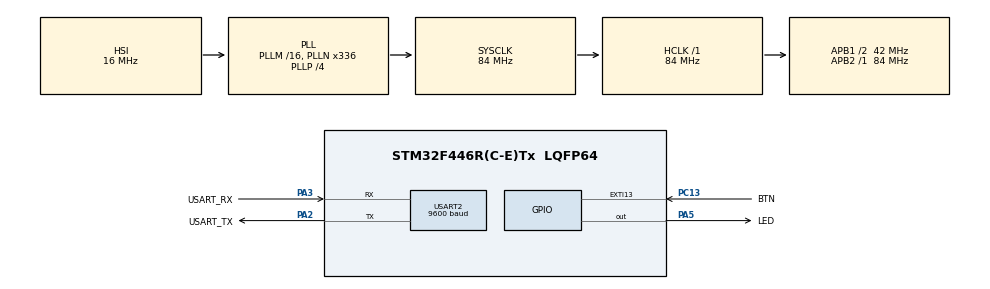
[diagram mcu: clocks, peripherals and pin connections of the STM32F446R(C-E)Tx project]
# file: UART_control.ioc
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Mcu.Family=STM32F4
Mcu.Name=STM32F446R(C-E)Tx
Mcu.Package=LQFP64
NVIC.EXTI15_10_IRQn=true\:0\:0\:false\:false\:true\:true\:true\:true
NVIC.PriorityGroup=NVIC_PRIORITYGROUP_0
NVIC.USART2_IRQn=true\:0\:0\:false\:false\:true\:true\:true\:true
PA13.GPIO_Label=TMS
PA13.Mode=Serial_Wire
PA13.Signal=SYS_JTMS-SWDIO
PA14.GPIO_Label=TCK
PA14.Mode=Serial_Wire
PA14.Signal=SYS_JTCK-SWCLK
PA2.GPIO_Label=USART_TX
PA2.Mode=Asynchronous
PA2.Signal=USART2_TX
PA3.GPIO_Label=USART_RX
PA3.Mode=Asynchronous
PA3.Signal=USART2_RX
PA5.GPIO_Label=LED
PA5.Signal=GPIO_Output
PB3.GPIO_Label=SWO
PB3.Signal=SYS_JTDO-SWO
PC13.GPIO_Label=BTN
PC13.GPIO_ModeDefaultEXTI=GPIO_MODE_IT_FALLING
PC13.Signal=GPXTI13
PC14-OSC32_IN.Mode=LSE-External-Oscillator
PC14-OSC32_IN.Signal=RCC_OSC32_IN
PC15-OSC32_OUT.Mode=LSE-External-Oscillator
PC15-OSC32_OUT.Signal=RCC_OSC32_OUT
PH0-OSC_IN.Mode=HSE-External-Oscillator
PH0-OSC_IN.Signal=RCC_OSC_IN
PH1-OSC_OUT.Mode=HSE-External-Oscillator
PH1-OSC_OUT.Signal=RCC_OSC_OUT
ProjectManager.HeapSize=0x200
ProjectManager.StackSize=0x400
ProjectManager.TargetToolchain=STM32CubeIDE
RCC.48MHZClocksFreq_Value=84000000
RCC.AHBFreq_Value=84000000
RCC.APB1CLKDivider=RCC_HCLK_DIV2
RCC.APB1Freq_Value=42000000
RCC.APB1TimFreq_Value=84000000
RCC.APB2Freq_Value=84000000
RCC.APB2TimFreq_Value=84000000
RCC.CortexFreq_Value=84000000
RCC.FLatency-AdvancedSettings=FLASH_LATENCY_2
RCC.HCLKFreq_Value=84000000
RCC.HSE_VALUE=8000000
RCC.HSI_VALUE=16000000
RCC.PLLN=336
RCC.PLLP=RCC_PLLP_DIV4
RCC.SYSCLKFreq_VALUE=84000000
RCC.SYSCLKSource=RCC_SYSCLKSOURCE_PLLCLK
RCC.USBFreq_Value=168000000
RCC.VCOOutputFreq_Value=336000000
USART2.BaudRate=9600
USART2.VirtualMode=VM_ASYNC
board=NUCLEO-F446RE

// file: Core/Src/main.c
/* USER CODE BEGIN Header */
/**
  ******************************************************************************
  * @file           : main.c
  * @brief          : Main program body
  ******************************************************************************
  * @attention
  *
  * Copyright (c) 2023 STMicroelectronics.
  * All rights reserved.
  *
  * This software is licensed under terms that can be found in the LICENSE file
  * in the root directory of this software component.
  * If no LICENSE file comes with this software, it is provided AS-IS.
  *
  ******************************************************************************
  */
/* USER CODE END Header */
#include "main.h"
#include <stdio.h>

UART_HandleTypeDef huart2;

void SystemClock_Config(void);
static void MX_GPIO_Init(void);
static void MX_USART2_UART_Init(void);
/* USER CODE BEGIN PFP */
int __io_putchar(int ch)
{
     (void) HAL_UART_Transmit(&huart2, (uint8_t*) &ch, 1, 100);
     return ch;
}
/* USER CODE END PFP */

/* USER CODE BEGIN 0 */

//UART data 1byte buffer
uint8_t rx_data;

/* USER CODE END 0 */

int main(void)
{

  /* MCU Configuration--------------------------------------------------------*/

  /* Reset of all peripherals, Initializes the Flash interface and the Systick. */
  HAL_Init();

  /* Configure the system clock */
  SystemClock_Config();

  /* Initialize all configured peripherals */
  MX_GPIO_Init();
  MX_USART2_UART_Init();
  /* USER CODE BEGIN 2 */

  // IF UART input occur -> Interrupt
  HAL_UART_Receive_IT(&huart2, &rx_data, 1);

  /* USER CODE END 2 */

  /* Infinite loop */
  while (1)
  {

    /* USER CODE BEGIN 3 */
	// Blink LED loop
	HAL_GPIO_WritePin(LED_GPIO_Port, LED_Pin, GPIO_PIN_SET);  // LED ON
	HAL_Delay(1000);
	HAL_GPIO_WritePin(LED_GPIO_Port, LED_Pin, GPIO_PIN_RESET);  // LED OFF
	HAL_Delay(1000);
  }
  /* USER CODE END 3 */
}

void SystemClock_Config(void)
{
  RCC_OscInitTypeDef RCC_OscInitStruct = {0};
  RCC_ClkInitTypeDef RCC_ClkInitStruct = {0};

  /** Configure the main internal regulator output voltage
  */
  __HAL_RCC_PWR_CLK_ENABLE();
  __HAL_PWR_VOLTAGESCALING_CONFIG(PWR_REGULATOR_VOLTAGE_SCALE3);

  /** Initializes the RCC Oscillators according to the specified parameters
  * in the RCC_OscInitTypeDef structure.
  */
  RCC_OscInitStruct.OscillatorType = RCC_OSCILLATORTYPE_HSI;
  RCC_OscInitStruct.HSIState = RCC_HSI_ON;
  RCC_OscInitStruct.HSICalibrationValue = RCC_HSICALIBRATION_DEFAULT;
  RCC_OscInitStruct.PLL.PLLState = RCC_PLL_ON;
  RCC_OscInitStruct.PLL.PLLSource = RCC_PLLSOURCE_HSI;
  RCC_OscInitStruct.PLL.PLLM = 16;
  RCC_OscInitStruct.PLL.PLLN = 336;
  RCC_OscInitStruct.PLL.PLLP = RCC_PLLP_DIV4;
  RCC_OscInitStruct.PLL.PLLQ = 2;
  RCC_OscInitStruct.PLL.PLLR = 2;
  if (HAL_RCC_OscConfig(&RCC_OscInitStruct) != HAL_OK)
  {
    Error_Handler();
  }

  /** Initializes the CPU, AHB and APB buses clocks
  */
  RCC_ClkInitStruct.ClockType = RCC_CLOCKTYPE_HCLK|RCC_CLOCKTYPE_SYSCLK
                              |RCC_CLOCKTYPE_PCLK1|RCC_CLOCKTYPE_PCLK2;
  RCC_ClkInitStruct.SYSCLKSource = RCC_SYSCLKSOURCE_PLLCLK;
  RCC_ClkInitStruct.AHBCLKDivider = RCC_SYSCLK_DIV1;
  RCC_ClkInitStruct.APB1CLKDivider = RCC_HCLK_DIV2;
  RCC_ClkInitStruct.APB2CLKDivider = RCC_HCLK_DIV1;

  if (HAL_RCC_ClockConfig(&RCC_ClkInitStruct, FLASH_LATENCY_2) != HAL_OK)
  {
    Error_Handler();
  }
}

static void MX_USART2_UART_Init(void)
{

  huart2.Instance = USART2;
  huart2.Init.BaudRate = 9600;
  huart2.Init.WordLength = UART_WORDLENGTH_8B;
  huart2.Init.StopBits = UART_STOPBITS_1;
  huart2.Init.Parity = UART_PARITY_NONE;
  huart2.Init.Mode = UART_MODE_TX_RX;
  huart2.Init.HwFlowCtl = UART_HWCONTROL_NONE;
  huart2.Init.OverSampling = UART_OVERSAMPLING_16;
  if (HAL_UART_Init(&huart2) != HAL_OK)
  {
    Error_Handler();
  }

}

static void MX_GPIO_Init(void)
{
  GPIO_InitTypeDef GPIO_InitStruct = {0};

  /* GPIO Ports Clock Enable */
  __HAL_RCC_GPIOC_CLK_ENABLE();
  __HAL_RCC_GPIOH_CLK_ENABLE();
  __HAL_RCC_GPIOA_CLK_ENABLE();
  __HAL_RCC_GPIOB_CLK_ENABLE();

  /*Configure GPIO pin Output Level */
  HAL_GPIO_WritePin(LED_GPIO_Port, LED_Pin, GPIO_PIN_RESET);

  /*Configure GPIO pin : BTN_Pin */
  GPIO_InitStruct.Pin = BTN_Pin;
  GPIO_InitStruct.Mode = GPIO_MODE_IT_FALLING;
  GPIO_InitStruct.Pull = GPIO_NOPULL;
  HAL_GPIO_Init(BTN_GPIO_Port, &GPIO_InitStruct);

  /*Configure GPIO pin : LED_Pin */
  GPIO_InitStruct.Pin = LED_Pin;
  GPIO_InitStruct.Mode = GPIO_MODE_OUTPUT_PP;
  GPIO_InitStruct.Pull = GPIO_NOPULL;
  GPIO_InitStruct.Speed = GPIO_SPEED_FREQ_LOW;
  HAL_GPIO_Init(LED_GPIO_Port, &GPIO_InitStruct);

  /* EXTI interrupt init*/
  HAL_NVIC_SetPriority(EXTI15_10_IRQn, 0, 0);
  HAL_NVIC_EnableIRQ(EXTI15_10_IRQn);

}

/* USER CODE BEGIN 4 */

// When button pressed, print message to terminal
void HAL_GPIO_EXTI_Callback(uint16_t GPIO_Pin)
{
	if (GPIO_Pin == BTN_Pin)
	{
		printf("Button Pressed !\r\n");
	}
}

// When UART input, print message to terminal & wait for next UART input
void HAL_UART_RxCpltCallback(UART_HandleTypeDef *huart)
{
	if (huart->Instance == USART2) {
		printf("Key Pressed: %c\r\n", rx_data);
		HAL_UART_Receive_IT(&huart2, &rx_data, 1);
	}
}

/* USER CODE END 4 */

void Error_Handler(void)
{
  __disable_irq();
  while (1)
  {
  }
}
